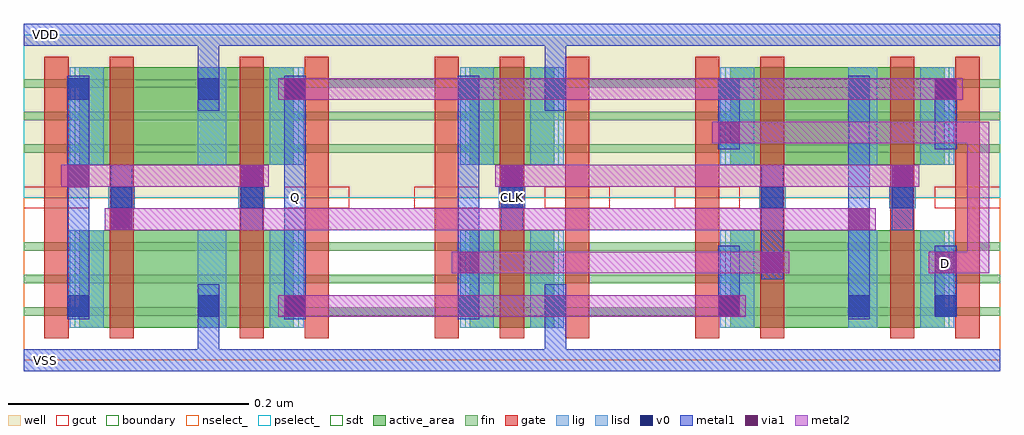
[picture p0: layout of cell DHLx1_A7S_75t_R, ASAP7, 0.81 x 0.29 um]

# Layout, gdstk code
import gdstk
lib = gdstk.Library(unit=1e-6, precision=2.5e-10)
def R(c, l, rs):  # rectangles x0, y0, x1, y1
    for r in rs: c.add(gdstk.rectangle(r[:2], r[2:], *l))
def A(c, l, x, y, w, h, nx, ny, dx, dy):  # array of equal rectangles
    R(c, l, [(x+i*dx, y+j*dy, x+i*dx+w, y+j*dy+h) for i in range(nx) for j in range(ny)])
well = (1, 0)
fin = (2, 0)
gate = (7, 0)
gcut = (10, 0)
active_area = (11, 0)
nselect_ = (12, 0)
pselect_ = (13, 0)
lig = (16, 0)
lisd = (17, 0)
v0 = (18, 0)
metal1 = (19, 0)
metal2 = (20, 0)
via1 = (21, 0)
sdt = (88, 0)
boundary = (100, 0)

dhlx1_a7s_75t_r = lib.new_cell('DHLx1_A7S_75t_R')
R(dhlx1_a7s_75t_r, well, [(0,0.135,0.81,0.27)])
A(dhlx1_a7s_75t_r, fin, 0, 0.037, 0.81, 0.007, 1, 3, 0, 0.027)
A(dhlx1_a7s_75t_r, fin, 0, 0.172, 0.81, 0.007, 1, 3, 0, 0.027)
A(dhlx1_a7s_75t_r, gate, 0.341, 0.018, 0.02, 0.234, 3, 1, 0.054, 0)
R(dhlx1_a7s_75t_r, gate, [(0.017,0.018,0.037,0.252), (0.071,0.018,0.091,0.252), (0.179,0.018,0.199,0.252), (0.233,0.018,0.253,0.252), (0.557,0.018,0.577,0.252), (0.611,0.018,0.631,0.252), (0.719,0.018,0.739,0.252), (0.773,0.018,0.793,0.252)])
A(dhlx1_a7s_75t_r, gcut, 0.216, 0.126, 0.054, 0.018, 4, 1, 0.108, 0)
R(dhlx1_a7s_75t_r, gcut, [(0,0.126,0.054,0.144), (0.756,0.126,0.81,0.144)])
R(dhlx1_a7s_75t_r, active_area, [(0.046,0.027,0.224,0.108), (0.37,0.027,0.44,0.108), (0.586,0.027,0.764,0.108), (0.046,0.162,0.224,0.243), (0.37,0.162,0.44,0.243), (0.586,0.162,0.764,0.243)])
R(dhlx1_a7s_75t_r, nselect_, [(0,0,0.81,0.135)])
R(dhlx1_a7s_75t_r, pselect_, [(0,0.135,0.81,0.27)])
A(dhlx1_a7s_75t_r, lig, 0.178, 0.126, 0.022, 0.018, 3, 1, 0.216, 0)
R(dhlx1_a7s_75t_r, lig, [(0.07,0.126,0.092,0.144), (0.718,0.126,0.74,0.144)])
R(dhlx1_a7s_75t_r, lisd, [(0.038,0.027,0.066,0.108), (0.144,0.027,0.168,0.108), (0.204,0.027,0.232,0.108), (0.362,0.027,0.39,0.108), (0.42,0.027,0.448,0.108), (0.578,0.027,0.606,0.108), (0.684,0.027,0.708,0.108), (0.744,0.027,0.772,0.108), (0.038,0.162,0.066,0.243), (0.144,0.162,0.168,0.243), (0.204,0.162,0.232,0.243), (0.362,0.162,0.39,0.243), (0.42,0.162,0.448,0.243), (0.578,0.162,0.606,0.243), (0.684,0.162,0.708,0.243), (0.744,0.162,0.772,0.243)])
A(dhlx1_a7s_75t_r, v0, 0.18, 0.126, 0.018, 0.018, 3, 1, 0.216, 0)
R(dhlx1_a7s_75t_r, v0, [(0.036,0.036,0.054,0.054), (0.144,0.036,0.162,0.054), (0.216,0.036,0.234,0.054), (0.36,0.036,0.378,0.054), (0.432,0.036,0.45,0.054), (0.576,0.036,0.594,0.054), (0.684,0.036,0.702,0.054), (0.756,0.036,0.774,0.054), (0.072,0.126,0.09,0.144), (0.72,0.126,0.738,0.144), (0.036,0.216,0.054,0.234), (0.144,0.216,0.162,0.234), (0.216,0.216,0.234,0.234), (0.36,0.216,0.378,0.234), (0.432,0.216,0.45,0.234), (0.576,0.216,0.594,0.234), (0.684,0.216,0.702,0.234), (0.756,0.216,0.774,0.234)])
A(dhlx1_a7s_75t_r, metal1, 0.18, 0.108, 0.018, 0.054, 3, 1, 0.216, 0)
R(dhlx1_a7s_75t_r, metal1, [(0,-0.009,0.81,0.009), (0.144,0.009,0.162,0.063), (0.432,0.009,0.45,0.063), (0.036,0.034,0.054,0.236), (0.216,0.034,0.234,0.236), (0.36,0.034,0.378,0.236), (0.684,0.034,0.702,0.236), (0.576,0.036,0.594,0.095), (0.756,0.036,0.774,0.095), (0.612,0.067,0.63,0.108), (0.072,0.108,0.09,0.162), (0.72,0.108,0.738,0.162), (0.576,0.175,0.594,0.234), (0.756,0.175,0.774,0.234), (0.144,0.207,0.162,0.261), (0.432,0.207,0.45,0.261), (0,0.261,0.81,0.279)])
R(dhlx1_a7s_75t_r, metal2, [(0.211,0.036,0.599,0.054), (0.355,0.072,0.635,0.09), (0.751,0.072,0.801,0.09), (0.783,0.072,0.801,0.198), (0.067,0.108,0.707,0.126), (0.031,0.144,0.203,0.162), (0.391,0.144,0.743,0.162), (0.571,0.18,0.801,0.198), (0.211,0.216,0.779,0.234)])
R(dhlx1_a7s_75t_r, via1, [(0.216,0.036,0.234,0.054), (0.576,0.036,0.594,0.054), (0.36,0.072,0.378,0.09), (0.612,0.072,0.63,0.09), (0.756,0.072,0.774,0.09), (0.072,0.108,0.09,0.126), (0.684,0.108,0.702,0.126), (0.036,0.144,0.054,0.162), (0.18,0.144,0.198,0.162), (0.396,0.144,0.414,0.162), (0.72,0.144,0.738,0.162), (0.576,0.18,0.594,0.198), (0.216,0.216,0.234,0.234), (0.756,0.216,0.774,0.234)])
R(dhlx1_a7s_75t_r, sdt, [(0.042,0.027,0.066,0.108), (0.144,0.027,0.168,0.108), (0.204,0.027,0.228,0.108), (0.366,0.027,0.39,0.108), (0.42,0.027,0.444,0.108), (0.582,0.027,0.606,0.108), (0.684,0.027,0.708,0.108), (0.744,0.027,0.768,0.108), (0.042,0.162,0.066,0.243), (0.144,0.162,0.168,0.243), (0.204,0.162,0.228,0.243), (0.366,0.162,0.39,0.243), (0.42,0.162,0.444,0.243), (0.582,0.162,0.606,0.243), (0.684,0.162,0.708,0.243), (0.744,0.162,0.768,0.243)])
R(dhlx1_a7s_75t_r, boundary, [(0,0,0.81,0.27)])
dhlx1_a7s_75t_r.add(gdstk.Label('VSS', (0.018,0), layer=19, texttype=251))
dhlx1_a7s_75t_r.add(gdstk.Label('VDD', (0.018,0.27), layer=19, texttype=251))
dhlx1_a7s_75t_r.add(gdstk.Label('CLK', (0.405,0.135), layer=19, texttype=251))
dhlx1_a7s_75t_r.add(gdstk.Label('D', (0.765,0.08), layer=19, texttype=251))
dhlx1_a7s_75t_r.add(gdstk.Label('Q', (0.225,0.135), layer=19, texttype=251))

lib.write_gds('DHLx1_A7S_75t_R.gds')
